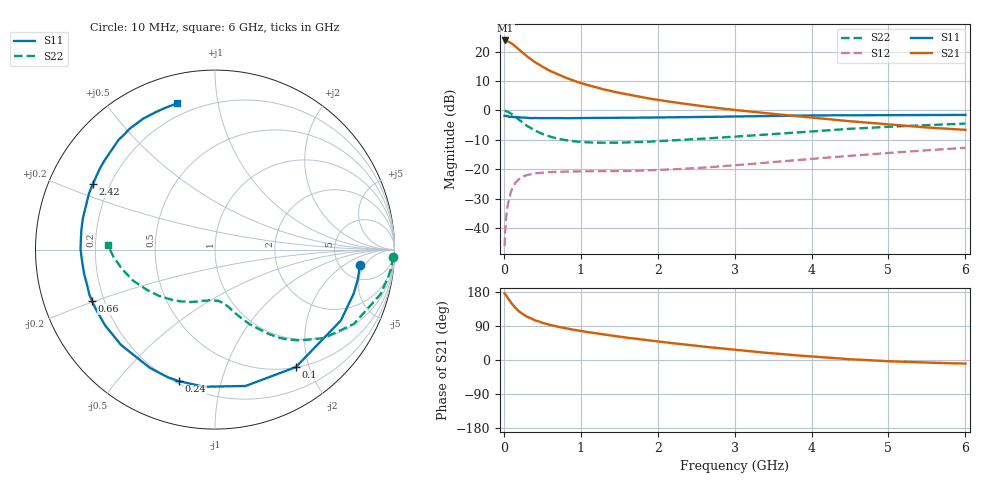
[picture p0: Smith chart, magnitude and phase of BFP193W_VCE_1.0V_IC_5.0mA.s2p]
! Infineon Technologies  Discrete & RF Semiconductors
! BFP193W
! VCE = 1.0 V,  IC =  5.0 mA
! Common Emitter S-Parameters:  Jan 2016
# GHz  S  MA  R  50
!  f  S11  S21  S12  S22
! GHz  MAG  ANG  MAG  ANG  MAG  ANG  MAG  ANG
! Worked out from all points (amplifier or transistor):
!   210 points, 10 MHz to 6 GHz, reference 50 ohm
!   highest |S21| = 23.8 dB at 20 MHz (marker M1)
!   |S21| within 3 dB of that: start of sweep to 192.4 MHz
!   unconditionally stable (mu >= 1): 1.609 GHz to end of sweep
!   at 185 MHz: K = 0.14, MSG = 22.4 dB, |S12| = -23.7 dB
!   at 1.52 GHz: K = 0.96, MSG = 13.3 dB, |S12| = -20.6 dB
!   at 6 GHz: K = 1.01, MAG = 2.6 dB, |S12| = -12.7 dB
!   S11 on the Smith chart (normalised r, x): 10 MHz: 7.78, -3.83; 100 MHz: 0.50, -1.79; 240 MHz: 0.21, -0.74; 660 MHz: 0.15, -0.20; 2.42 GHz: 0.14, +0.25; 6 GHz: 0.14, +0.77
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0.01  0.8129 -5.9  15.56 176.0  0.0049 87.6  0.9929 -2.3
0.02  0.8127 -12.0  15.58 173.5  0.0101 83.0  0.9864 -6.3
0.03  0.8106 -17.6  15.51 170.3  0.0148 81.7  0.9766 -9.2
0.05  0.8048 -29.4  15.2 163.9  0.0244 75.2  0.9549 -15.1
0.1  0.7947 -55.5  13.93 149.5  0.0439 62.6  0.8782 -28.1
0.15  0.7787 -77.4  12.37 137.3  0.059 52.0  0.7826 -39.0
0.2  0.7666 -94.7  10.81 127.9  0.0682 44.4  0.6908 -47.1
0.24  0.7599 -105.4  9.762 122.1  0.0737 39.5  0.6304 -52.1
0.3  0.7522 -118.8  8.37 114.4  0.0796 34.0  0.5499 -58.0
0.4  0.7459 -134.6  6.723 105.1  0.0849 28.0  0.4591 -65.0
0.5  0.7438 -145.4  5.571 98.1  0.0878 24.3  0.4001 -69.8
0.6  0.7425 -153.6  4.73 92.5  0.0894 21.9  0.3591 -73.6
0.66  0.7421 -157.4  4.365 89.9  0.0901 21.0  0.342 -75.2
0.8  0.7392 -165.0  3.63 83.7  0.0912 19.5  0.313 -79.2
1.02  0.7425 -173.9  2.881 76.1  0.0919 18.7  0.2907 -84.8
1.4  0.7502 174.5  2.132 64.4  0.0931 19.8  0.2835 -93.3
2.02  0.7612 159.9  1.503 48.5  0.0974 25.5  0.3014 -106.6
2.42  0.7724 151.9  1.263 39.3  0.1029 29.5  0.3229 -115.3
3.1  0.7929 139.6  0.991 25.2  0.1195 35.1  0.3658 -130.1
4.1  0.8251 124.1  0.735 7.9  0.1538 37.6  0.4486 -151.4
5.1  0.8345 112.4  0.566 -4.0  0.1934 35.4  0.5358 -169.8
6  0.8415 104.5  0.468 -9.4  0.2316 31.6  0.5979 177.8
